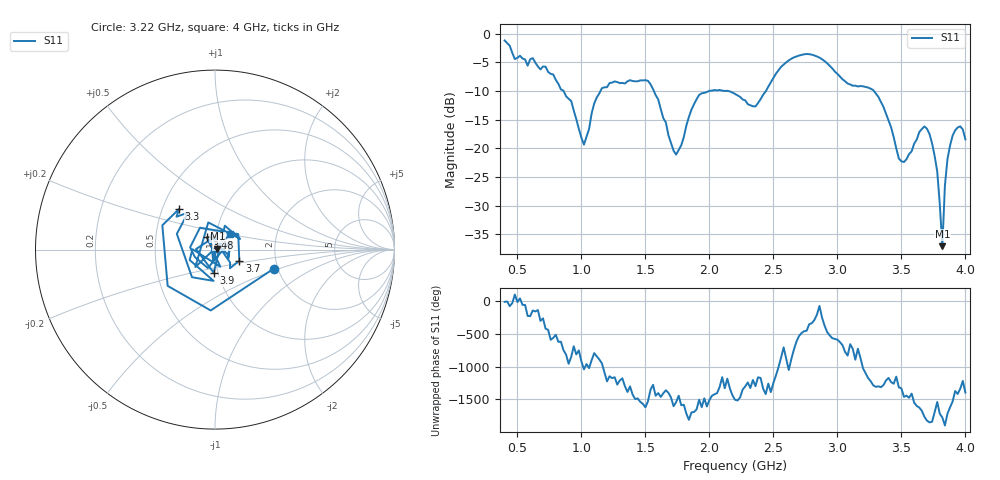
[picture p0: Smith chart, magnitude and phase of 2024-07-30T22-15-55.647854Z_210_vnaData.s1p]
!Created with skrf (http://scikit-rf.org).
# Hz S RI R 50.0
!freq ReS11 ImS11
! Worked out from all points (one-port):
!   181 points, 400 MHz to 4 GHz, reference 50 ohm
!   lowest |S11| = -37.0 dB at 3.82 GHz (marker M1), VSWR 1.03, Z = 51.3 + j0.574 ohm
!   |S11| at or under -10 dB: 1.567 GHz to 1.995 GHz (428 MHz wide, 24 % of centre); 2.151 GHz to 2.441 GHz (289.9 MHz wide, 12.6 % of centre); 3.286 GHz to end of sweep (the widest 3 of 4)
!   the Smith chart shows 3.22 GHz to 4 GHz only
!   S11 on the Smith chart (normalised r, x): 3.22 GHz: 1.90, -0.46; 3.3 GHz: 0.61, +0.30; 3.48 GHz: 0.90, +0.12; 3.7 GHz: 1.30, -0.16; 3.9 GHz: 0.95, -0.25; 4 GHz: 1.17, +0.20
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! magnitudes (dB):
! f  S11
! 400 MHz  -1.2
! 480 MHz  -4.4
! 860 MHz  -9.9
! 920 MHz  -11.7
! 1.02 GHz  -19.3
! 1.16 GHz  -9.5
! 1.3 GHz  -8.6
! 1.52 GHz  -8.2
! 1.72 GHz  -20.4
! 1.76 GHz  -20.3
! 1.92 GHz  -10.7
! 2.2 GHz  -10.5
! 2.36 GHz  -12.7
! 2.66 GHz  -4.1
! 2.86 GHz  -4.2
! 3.1 GHz  -8.8
! 3.22 GHz  -9.3
! 3.3 GHz  -10.4
! 3.48 GHz  -21.8
! 3.56 GHz  -21.0
! 3.7 GHz  -16.6
! 3.78 GHz  -24.0
! 3.82 GHz  -37.0
! 3.84 GHz  -26.5
! 3.86 GHz  -21.8
! 3.9 GHz  -17.8
! 3.96 GHz  -16.1
! 4 GHz  -18.4
